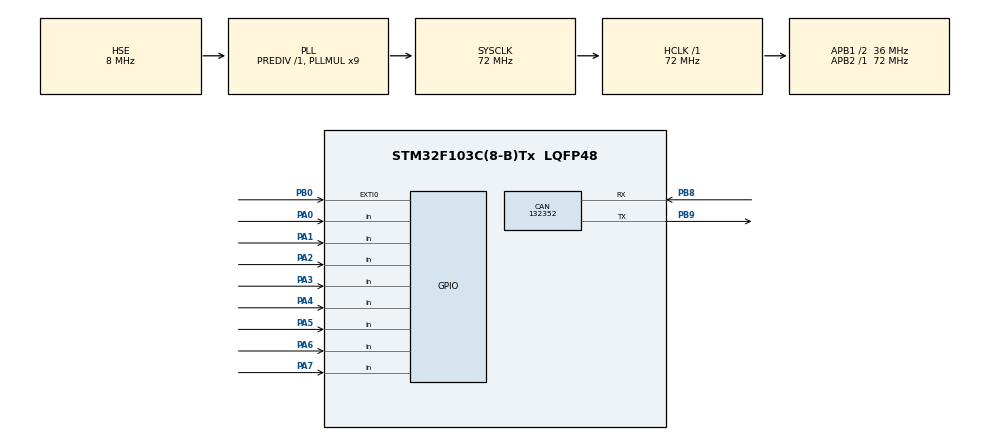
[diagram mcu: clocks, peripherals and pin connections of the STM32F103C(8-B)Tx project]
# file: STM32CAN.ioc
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Mcu.Family=STM32F1
RCC.PLLSourceVirtual=RCC_PLLSOURCE_HSE
PC15-OSC32_OUT.Mode=LSE-External-Oscillator
PD1-OSC_OUT.Mode=HSE-External-Oscillator
CAN.CalculateBaudRate=132352
PD0-OSC_IN.Signal=RCC_OSC_IN
RCC.APB1CLKDivider=RCC_HCLK_DIV2
PC14-OSC32_IN.Signal=RCC_OSC32_IN
CAN.CalculateTimeBit=7555.55
RCC.SYSCLKSource=RCC_SYSCLKSOURCE_PLLCLK
ProjectManager.StackSize=0x400
PA0-WKUP.Signal=GPIO_Input
PD1-OSC_OUT.Signal=RCC_OSC_OUT
PA13.Signal=SYS_JTMS-SWDIO
CAN.BS2=CAN_BS2_8TQ
CAN.BS1=CAN_BS1_8TQ
ProjectManager.TargetToolchain=STM32CubeIDE
RCC.HCLKFreq_Value=72000000
PB9.Mode=CAN_Activate
RCC.APB2TimFreq_Value=72000000
RCC.USBFreq_Value=72000000
CAN.Mode=CAN_MODE_LOOPBACK
PC15-OSC32_OUT.Signal=RCC_OSC32_OUT
PA1.Signal=GPIO_Input
RCC.AHBFreq_Value=72000000
PD0-OSC_IN.Mode=HSE-External-Oscillator
PA5.Signal=GPIO_Input
board=custom
RCC.PLLMUL=RCC_PLL_MUL9
RCC.APB2Freq_Value=72000000
PC14-OSC32_IN.Mode=LSE-External-Oscillator
PA14.Mode=Serial_Wire
PA13.Mode=Serial_Wire
Mcu.Name=STM32F103C(8-B)Tx
CAN.CalculateTimeQuantum=444.44444444444446
PA2.Signal=GPIO_Input
NVIC.EXTI0_IRQn=true\:0\:0\:false\:false\:true\:true\:true
PA4.Signal=GPIO_Input
RCC.SYSCLKFreq_VALUE=72000000
Mcu.Package=LQFP48
PB9.Signal=CAN_TX
PA6.Signal=GPIO_Input
PA14.Signal=SYS_JTCK-SWCLK
ProjectManager.HeapSize=0x200
NVIC.PriorityGroup=NVIC_PRIORITYGROUP_4
PB8.Mode=CAN_Activate
CAN.TXFP=ENABLE
RCC.APB1TimFreq_Value=72000000
PB8.Signal=CAN_RX
RCC.APB1Freq_Value=36000000
PB0.Signal=GPXTI0
PA3.Signal=GPIO_Input
PA7.Signal=GPIO_Input

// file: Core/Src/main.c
/* USER CODE BEGIN Header */
/**
  ******************************************************************************
  * @file           : main.c
  * @brief          : Main program body
  ******************************************************************************
  * @attention
  *
  * <h2><center>&copy; Copyright (c) 2021 STMicroelectronics.
  * All rights reserved.</center></h2>
  *
  * This software component is licensed by ST under BSD 3-Clause license,
  * the "License"; You may not use this file except in compliance with the
  * License. You may obtain a copy of the License at:
  *                        opensource.org/licenses/BSD-3-Clause
  *
  ******************************************************************************
  */
/* USER CODE END Header */
#include "main.h"

/* USER CODE BEGIN Includes */
#include "circle_queue.h"

/* USER CODE END Includes */

CAN_HandleTypeDef hcan;

/* USER CODE BEGIN PV */
struct Queue queueRAM = {0, 24, {15, 15, 15, 15, 15, 15, 15, 15, 13, 13, 13, 13, 13, 13, 13, 13, 10, 10, 10, 10, 10, 10, 10, 10, 0}};
struct Queue queueRx = {0, 0, {0}};
#define PACKAGE_SIZE 8

CAN_FilterTypeDef CanFilter;
CAN_TxHeaderTypeDef CanTxHeader;
CAN_RxHeaderTypeDef CanRxHeader;
/* USER CODE END PV */

void SystemClock_Config(void);
static void MX_GPIO_Init(void);
static void MX_CAN_Init(void);

int main(void)
{

  /* MCU Configuration--------------------------------------------------------*/

  /* Reset of all peripherals, Initializes the Flash interface and the Systick. */
  HAL_Init();

  /* Configure the system clock */
  SystemClock_Config();

  /* Initialize all configured peripherals */
  MX_GPIO_Init();
  MX_CAN_Init();

  /* Infinite loop */
  /* USER CODE BEGIN WHILE */
  while (1)
  {
	  sendImageData();
	  receiveImageData();
    /* USER CODE END WHILE */

  }
}

void SystemClock_Config(void)
{
  RCC_OscInitTypeDef RCC_OscInitStruct = {0};
  RCC_ClkInitTypeDef RCC_ClkInitStruct = {0};

  /** Initializes the RCC Oscillators according to the specified parameters
  * in the RCC_OscInitTypeDef structure.
  */
  RCC_OscInitStruct.OscillatorType = RCC_OSCILLATORTYPE_HSE;
  RCC_OscInitStruct.HSEState = RCC_HSE_ON;
  RCC_OscInitStruct.HSEPredivValue = RCC_HSE_PREDIV_DIV1;
  RCC_OscInitStruct.HSIState = RCC_HSI_ON;
  RCC_OscInitStruct.PLL.PLLState = RCC_PLL_ON;
  RCC_OscInitStruct.PLL.PLLSource = RCC_PLLSOURCE_HSE;
  RCC_OscInitStruct.PLL.PLLMUL = RCC_PLL_MUL9;
  if (HAL_RCC_OscConfig(&RCC_OscInitStruct) != HAL_OK)
  {
    Error_Handler();
  }
  /** Initializes the CPU, AHB and APB buses clocks
  */
  RCC_ClkInitStruct.ClockType = RCC_CLOCKTYPE_HCLK|RCC_CLOCKTYPE_SYSCLK
                              |RCC_CLOCKTYPE_PCLK1|RCC_CLOCKTYPE_PCLK2;
  RCC_ClkInitStruct.SYSCLKSource = RCC_SYSCLKSOURCE_PLLCLK;
  RCC_ClkInitStruct.AHBCLKDivider = RCC_SYSCLK_DIV1;
  RCC_ClkInitStruct.APB1CLKDivider = RCC_HCLK_DIV2;
  RCC_ClkInitStruct.APB2CLKDivider = RCC_HCLK_DIV1;

  if (HAL_RCC_ClockConfig(&RCC_ClkInitStruct, FLASH_LATENCY_2) != HAL_OK)
  {
    Error_Handler();
  }
}

static void MX_CAN_Init(void)
{

  /* USER CODE BEGIN CAN_Init 0 */
	CanFilter.FilterIdHigh = 0x0000;						// Da vi har 32 bit ID, er dette de 16 MSB af ID
	CanFilter.FilterIdLow = 0x0010;						// Da vi har 32 bit ID, er dette de 16 LSB af ID
	CanFilter.FilterScale = CAN_FILTERSCALE_32BIT;		// ID er et 32 bit-tal
	CanFilter.FilterActivation = ENABLE;					// Vi aktiverer filteret
	CanFilter.FilterBank = 0;								// Vi vælger filter 0 ud af 14 mulige filtre
	CanFilter.FilterFIFOAssignment = CAN_FILTER_FIFO0;	// Vi vælger FIFO0 til forskel for FIFO1

	CanTxHeader.DLC = PACKAGE_SIZE;									// Der kommer 1 byte som data i beskeden
	CanTxHeader.ExtId = 0x00000010;						// 32 bit ID
	CanTxHeader.IDE = CAN_ID_EXT;							// Vi har et extended ID = 32 bit til forskel fra standard på 16 bit
	CanTxHeader.RTR = CAN_RTR_DATA;						// Vi sender data
	CanTxHeader.TransmitGlobalTime = DISABLE;				// Der skal IKKE sendes et timestamp med hver besked

	CanRxHeader.DLC = PACKAGE_SIZE;
	CanRxHeader.ExtId = 0x00000010;
	CanRxHeader.IDE = CAN_ID_EXT;
	CanRxHeader.RTR = CAN_RTR_DATA;
  /* USER CODE END CAN_Init 0 */

  hcan.Instance = CAN1;
  hcan.Init.Prescaler = 16;
  hcan.Init.Mode = CAN_MODE_LOOPBACK;
  hcan.Init.SyncJumpWidth = CAN_SJW_1TQ;
  hcan.Init.TimeSeg1 = CAN_BS1_8TQ;
  hcan.Init.TimeSeg2 = CAN_BS2_8TQ;
  hcan.Init.TimeTriggeredMode = DISABLE;
  hcan.Init.AutoBusOff = DISABLE;
  hcan.Init.AutoWakeUp = DISABLE;
  hcan.Init.AutoRetransmission = DISABLE;
  hcan.Init.ReceiveFifoLocked = DISABLE;
  hcan.Init.TransmitFifoPriority = ENABLE;
  if (HAL_CAN_Init(&hcan) != HAL_OK)
  {
    Error_Handler();
  }
  /* USER CODE BEGIN CAN_Init 2 */
  HAL_CAN_Start(&hcan);
  HAL_CAN_ConfigFilter(&hcan, &CanFilter);
  /* USER CODE END CAN_Init 2 */

}

static void MX_GPIO_Init(void)
{
  GPIO_InitTypeDef GPIO_InitStruct = {0};

  /* GPIO Ports Clock Enable */
  __HAL_RCC_GPIOC_CLK_ENABLE();
  __HAL_RCC_GPIOD_CLK_ENABLE();
  __HAL_RCC_GPIOA_CLK_ENABLE();
  __HAL_RCC_GPIOB_CLK_ENABLE();

  /*Configure GPIO pins : PA0 PA1 PA2 PA3
                           PA4 PA5 PA6 PA7 */
  GPIO_InitStruct.Pin = GPIO_PIN_0|GPIO_PIN_1|GPIO_PIN_2|GPIO_PIN_3
                          |GPIO_PIN_4|GPIO_PIN_5|GPIO_PIN_6|GPIO_PIN_7;
  GPIO_InitStruct.Mode = GPIO_MODE_INPUT;
  GPIO_InitStruct.Pull = GPIO_NOPULL;
  HAL_GPIO_Init(GPIOA, &GPIO_InitStruct);

  /*Configure GPIO pin : PB0 */
  GPIO_InitStruct.Pin = GPIO_PIN_0;
  GPIO_InitStruct.Mode = GPIO_MODE_IT_RISING;
  GPIO_InitStruct.Pull = GPIO_NOPULL;
  HAL_GPIO_Init(GPIOB, &GPIO_InitStruct);

  /* EXTI interrupt init*/
  HAL_NVIC_SetPriority(EXTI0_IRQn, 0, 0);
  HAL_NVIC_EnableIRQ(EXTI0_IRQn);

}

/* USER CODE BEGIN 4 */

void HAL_GPIO_EXTI_Callback(uint16_t GPIO_Pin)
{
	if(GPIO_Pin == GPIO_PIN_0){

		//Kode der implementerer en cirkel buffer
		EnterQueue(&queueRAM, (uint8_t) GPIOA->IDR &0xFF); // Sætter dataen på PA0-7 ind i køen.
	}
}

void sendImageData() {
	if (HAL_CAN_GetRxFifoFillLevel(&hcan, CAN_RX_FIFO0) == 0) {
		uint8_t dataToMB0[PACKAGE_SIZE] = {0};
		uint8_t dataToMB1[PACKAGE_SIZE] = {0};
		uint8_t dataToMB2[PACKAGE_SIZE] = {0};
		uint32_t randoMailBox;
		if (fillDataArray(&queueRAM, dataToMB0)) {
			HAL_CAN_AddTxMessage(&hcan, &CanTxHeader, dataToMB0, &randoMailBox);
		}
		if (fillDataArray(&queueRAM, dataToMB1)) {
			HAL_CAN_AddTxMessage(&hcan, &CanTxHeader, dataToMB1, &randoMailBox);
		}
		if (fillDataArray(&queueRAM, dataToMB2)) {
			HAL_CAN_AddTxMessage(&hcan, &CanTxHeader, dataToMB2, &randoMailBox);
		}
		uint8_t dataToMB3[PACKAGE_SIZE] = {0};
	}
}

void fillDataArray(struct Queue *source, uint8_t *data) {
	for (int i = 0; i < PACKAGE_SIZE; i++) {
		if (LeaveQueue(source, data + i)) { //Gemmer en byte fra source til data. Flere bytes gemmes ved at inkrementere data (som jo er en pointer til hvert element i data[])
			continue;
		} else {
			return 0;
		}
	}
	return 1;
}

void receiveImageData() {
	uint8_t buffer[PACKAGE_SIZE] = {0};
	if (!QueueFull(&queueRx)) { // Hvis køen ikke er fuld - Hvis der er en plads til at modtage en besked
		HAL_CAN_GetRxMessage(&hcan, CAN_RX_FIFO0, &CanRxHeader, buffer); // Modtag beskeden og læg den i buffer
		for(int i = 0; i < PACKAGE_SIZE; i++){
		EnterQueue(&queueRx, buffer[i]); // Læg buffer ind i modtager-queuen
		}
	}
}

/* USER CODE END 4 */

void Error_Handler(void)
{
  __disable_irq();
  while (1)
  {
  }
}

/************************ (C) COPYRIGHT STMicroelectronics *****END OF FILE****/
